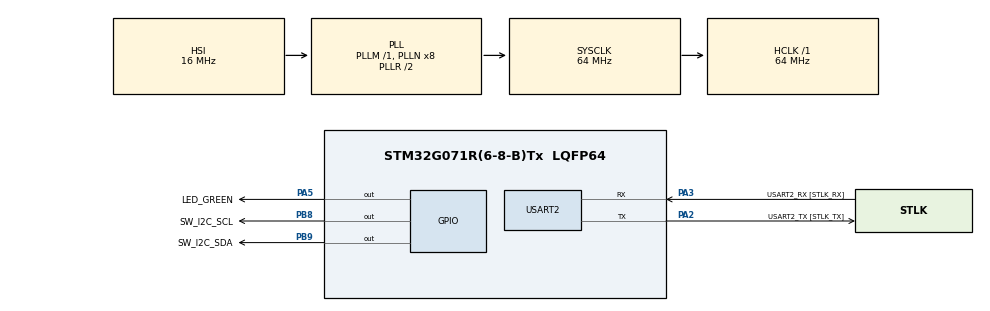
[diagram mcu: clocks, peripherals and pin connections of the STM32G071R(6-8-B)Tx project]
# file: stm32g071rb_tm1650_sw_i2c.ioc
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Mcu.Family=STM32G0
Mcu.Name=STM32G071R(6-8-B)Tx
Mcu.Package=LQFP64
PA13.GPIO_Label=TMS
PA13.Mode=Serial_Wire
PA13.Signal=SYS_SWDIO
PA14-BOOT0.GPIO_Label=TCK
PA14-BOOT0.Mode=Serial_Wire
PA14-BOOT0.Signal=SYS_SWCLK
PA2.GPIO_Label=USART2_TX [STLK_TX]
PA2.GPIO_PuPd=GPIO_PULLUP
PA2.Mode=Asynchronous
PA2.Signal=USART2_TX
PA3.GPIO_Label=USART2_RX [STLK_RX]
PA3.GPIO_PuPd=GPIO_PULLUP
PA3.Mode=Asynchronous
PA3.Signal=USART2_RX
PA5.GPIO_Label=LED_GREEN
PA5.GPIO_Speed=GPIO_SPEED_FREQ_HIGH
PA5.Signal=GPIO_Output
PB8.GPIO_FM8=__NULL
PB8.GPIO_Label=SW_I2C_SCL
PB8.GPIO_ModeDefaultOutputPP=GPIO_MODE_OUTPUT_OD
PB8.GPIO_PuPd=GPIO_PULLUP
PB8.GPIO_Speed=GPIO_SPEED_FREQ_HIGH
PB8.Signal=GPIO_Output
PB9.GPIO_Label=SW_I2C_SDA
PB9.GPIO_ModeDefaultOutputPP=GPIO_MODE_OUTPUT_OD
PB9.GPIO_PuPd=GPIO_PULLUP
PB9.GPIO_Speed=GPIO_SPEED_FREQ_HIGH
PB9.Signal=GPIO_Output
PC13.Mode=SYS_WakeUp1
PC13.Signal=SYS_WKUP2
PC14-OSC32_IN\ (PC14).Mode=LSE-External-Oscillator
PC14-OSC32_IN\ (PC14).Signal=RCC_OSC32_IN
PC15-OSC32_OUT\ (PC15).Mode=LSE-External-Oscillator
PC15-OSC32_OUT\ (PC15).Signal=RCC_OSC32_OUT
PF0-OSC_IN\ (PF0).GPIO_Label=MCO
PF0-OSC_IN\ (PF0).Mode=HSE-External-Clock-Source
PF0-OSC_IN\ (PF0).Signal=RCC_OSC_IN
ProjectManager.HeapSize=0x200
ProjectManager.StackSize=0x400
ProjectManager.TargetToolchain=STM32CubeIDE
RCC.ADCFreq_Value=64000000
RCC.AHBFreq_Value=64000000
RCC.CortexFreq_Value=64000000
RCC.EXTERNAL_CLOCK_VALUE=12288000
RCC.HCLKFreq_Value=64000000
RCC.HSE_VALUE=8000000
RCC.HSI_VALUE=16000000
RCC.SYSCLKFreq_VALUE=64000000
RCC.SYSCLKSource=RCC_SYSCLKSOURCE_PLLCLK
RCC.VCOOutputFreq_Value=128000000
TIM1.Period=0xffff-1
TIM1.Prescaler=64-1
USART2.VirtualMode-Asynchronous=VM_ASYNC
VP_SYS_VS_DBSignals.Mode=DisableDeadBatterySignals
VP_TIM1_VS_ClockSourceINT.Mode=Internal
board=NUCLEO-G071RB

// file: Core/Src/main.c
/* USER CODE BEGIN Header */
/**
  ******************************************************************************
  * @file           : main.c
  * @brief          : Main program body
  ******************************************************************************
  * @attention
  *
  * <h2><center>&copy; Copyright (c) 2021 STMicroelectronics.
  * All rights reserved.</center></h2>
  *
  * This software component is licensed by ST under BSD 3-Clause license,
  * the "License"; You may not use this file except in compliance with the
  * License. You may obtain a copy of the License at:
  *                        opensource.org/licenses/BSD-3-Clause
  *
  ******************************************************************************
  */
/* USER CODE END Header */
#include "main.h"

/* USER CODE BEGIN Includes */
#include <ms_timer.h>
#include <tm1650.h>
#include <stdio.h>
/* USER CODE END Includes */

/* USER CODE BEGIN PM */
#define USE_HARDWARE_I2C           (0)
/* USER CODE END PM */

TIM_HandleTypeDef htim1;

UART_HandleTypeDef huart2;

/* USER CODE BEGIN PV */
tm1650_t t;
millis_timer_t my_timer;
unsigned long my_counter = 0;
/* USER CODE END PV */

void SystemClock_Config(void);
static void MX_GPIO_Init(void);
static void MX_USART2_UART_Init(void);
static void MX_TIM1_Init(void);

/* USER CODE BEGIN 0 */
void delay_us (uint16_t us) {
  __HAL_TIM_SET_COUNTER(&htim1, 0);  // set the counter value a 0
  while (__HAL_TIM_GET_COUNTER(&htim1) < us);  // wait for the counter to reach the us input in the parameter
}

void tm1650_example (void)
{
  tm1650_display_off(&t);
  tm1650_display_string(&t, "____");
  tm1650_set_brightness(&t, TM1650_MIN_BRIGHT);
  tm1650_display_on(&t);
  HAL_Delay(100);
  char line[] = "1234";

  tm1650_display_string(&t, line);
  tm1650_set_brightness_gradually(&t, TM1650_MAX_BRIGHT);
  HAL_Delay(2000);
  tm1650_set_brightness_gradually(&t, TM1650_MIN_BRIGHT);
  tm1650_display_off(&t);
  HAL_Delay(1000);

  line[1] |= 128;
  tm1650_display_on(&t);
  tm1650_set_brightness_gradually(&t, TM1650_MAX_BRIGHT);
  tm1650_display_string(&t, line);
  HAL_Delay(2000);

//  for (int i=0; i<8; i++) {
//    d.setBrightness(i);
//    delay(500);
//  }

  tm1650_display_string(&t, "abcd");
  HAL_Delay(2000);

  tm1650_display_string(&t, "789 ");
  HAL_Delay(2000);

  if (tm1650_display_running(&t, "1234567890abcdefghijklmnop")) {
    while (tm1650_display_running_shift(&t)) HAL_Delay(500);
  }
  HAL_Delay(2000);

  for (int i = 0; i < 20; i++) {
    tm1650_display_off(&t);
    HAL_Delay(200);
    tm1650_display_on(&t);
    HAL_Delay(200);
  }

  for (int i = 0; i < 20; i++) {
    tm1650_set_brightness(&t, 1);
    HAL_Delay(200);
    tm1650_set_brightness(&t, 7);
    HAL_Delay(200);
  }

  for (int i = 0; i < 20; i++) {
    for (int j = 0; j<4; j++) {
      tm1650_set_dot(&t, j, true);
      HAL_Delay(200);
    }
    for (int j = 0; j < 4; j++) {
      tm1650_set_dot(&t, j, false);
      HAL_Delay(200);
    }
  }
}

int my_timer_callback (void *f) {
  char lbuf[4];
  /* Something happens here. Application code. */
  HAL_GPIO_TogglePin(LED_GREEN_GPIO_Port, LED_GREEN_Pin);
  my_counter++;
  sprintf(lbuf, "%ld", my_counter);
  tm1650_display_string(&t, lbuf);
  return 0;
}
/* USER CODE END 0 */

int main(void)
{

  /* MCU Configuration--------------------------------------------------------*/

  /* Reset of all peripherals, Initializes the Flash interface and the Systick. */
  HAL_Init();

  /* Configure the system clock */
  SystemClock_Config();

  /* Initialize all configured peripherals */
  MX_GPIO_Init();
  MX_USART2_UART_Init();
  MX_TIM1_Init();
  /* USER CODE BEGIN 2 */
  // Raman: Get rid of HW I2C; Replace with SW I2C instead.
  // HAL_I2C_Init(&hi2c1);
  HAL_TIM_Base_Start(&htim1);
  MX_GPIO_Init();

  /* Raman: Initialize the TM1650 module here */
  tm1650_init(&t);

  /* Init timer */
  millis_timer_init(&my_timer, 1000, my_timer_callback);

  /* Basically, the first line does the work of the 2 calls below */
  millis_timer_set_interval(&my_timer, 1000);
  millis_timer_expired_handler(&my_timer, my_timer_callback);

  /* Repeat infinitely when 0 is passed. */
  millis_timer_set_repeats(&my_timer, 0);

  /* Start millisecond timer */
  millis_timer_start(&my_timer);
  /* USER CODE END 2 */

  /* Infinite loop */
  while (1)
  {

    /* USER CODE BEGIN 3 */
	// Raman: Comment for now. Let the millis library take over.
	// tm1650_example();
	millis_timer_run(&my_timer);
  }
  /* USER CODE END 3 */
}

void SystemClock_Config(void)
{
  RCC_OscInitTypeDef RCC_OscInitStruct = {0};
  RCC_ClkInitTypeDef RCC_ClkInitStruct = {0};
  RCC_PeriphCLKInitTypeDef PeriphClkInit = {0};

  /** Configure the main internal regulator output voltage
  */
  HAL_PWREx_ControlVoltageScaling(PWR_REGULATOR_VOLTAGE_SCALE1);
  /** Initializes the RCC Oscillators according to the specified parameters
  * in the RCC_OscInitTypeDef structure.
  */
  RCC_OscInitStruct.OscillatorType = RCC_OSCILLATORTYPE_HSI;
  RCC_OscInitStruct.HSIState = RCC_HSI_ON;
  RCC_OscInitStruct.HSIDiv = RCC_HSI_DIV1;
  RCC_OscInitStruct.HSICalibrationValue = RCC_HSICALIBRATION_DEFAULT;
  RCC_OscInitStruct.PLL.PLLState = RCC_PLL_ON;
  RCC_OscInitStruct.PLL.PLLSource = RCC_PLLSOURCE_HSI;
  RCC_OscInitStruct.PLL.PLLM = RCC_PLLM_DIV1;
  RCC_OscInitStruct.PLL.PLLN = 8;
  RCC_OscInitStruct.PLL.PLLP = RCC_PLLP_DIV2;
  RCC_OscInitStruct.PLL.PLLQ = RCC_PLLQ_DIV2;
  RCC_OscInitStruct.PLL.PLLR = RCC_PLLR_DIV2;
  if (HAL_RCC_OscConfig(&RCC_OscInitStruct) != HAL_OK)
  {
    Error_Handler();
  }
  /** Initializes the CPU, AHB and APB buses clocks
  */
  RCC_ClkInitStruct.ClockType = RCC_CLOCKTYPE_HCLK|RCC_CLOCKTYPE_SYSCLK
                              |RCC_CLOCKTYPE_PCLK1;
  RCC_ClkInitStruct.SYSCLKSource = RCC_SYSCLKSOURCE_PLLCLK;
  RCC_ClkInitStruct.AHBCLKDivider = RCC_SYSCLK_DIV1;
  RCC_ClkInitStruct.APB1CLKDivider = RCC_HCLK_DIV1;

  if (HAL_RCC_ClockConfig(&RCC_ClkInitStruct, FLASH_LATENCY_2) != HAL_OK)
  {
    Error_Handler();
  }
  /** Initializes the peripherals clocks
  */
  PeriphClkInit.PeriphClockSelection = RCC_PERIPHCLK_USART2|RCC_PERIPHCLK_TIM1;
  PeriphClkInit.Usart2ClockSelection = RCC_USART2CLKSOURCE_PCLK1;
  PeriphClkInit.Tim1ClockSelection = RCC_TIM1CLKSOURCE_PCLK1;
  if (HAL_RCCEx_PeriphCLKConfig(&PeriphClkInit) != HAL_OK)
  {
    Error_Handler();
  }
}

static void MX_TIM1_Init(void)
{

  TIM_ClockConfigTypeDef sClockSourceConfig = {0};
  TIM_MasterConfigTypeDef sMasterConfig = {0};

  htim1.Instance = TIM1;
  htim1.Init.Prescaler = 64-1;
  htim1.Init.CounterMode = TIM_COUNTERMODE_UP;
  htim1.Init.Period = 0xffff-1;
  htim1.Init.ClockDivision = TIM_CLOCKDIVISION_DIV1;
  htim1.Init.RepetitionCounter = 0;
  htim1.Init.AutoReloadPreload = TIM_AUTORELOAD_PRELOAD_DISABLE;
  if (HAL_TIM_Base_Init(&htim1) != HAL_OK)
  {
    Error_Handler();
  }
  sClockSourceConfig.ClockSource = TIM_CLOCKSOURCE_INTERNAL;
  if (HAL_TIM_ConfigClockSource(&htim1, &sClockSourceConfig) != HAL_OK)
  {
    Error_Handler();
  }
  sMasterConfig.MasterOutputTrigger = TIM_TRGO_RESET;
  sMasterConfig.MasterOutputTrigger2 = TIM_TRGO2_RESET;
  sMasterConfig.MasterSlaveMode = TIM_MASTERSLAVEMODE_DISABLE;
  if (HAL_TIMEx_MasterConfigSynchronization(&htim1, &sMasterConfig) != HAL_OK)
  {
    Error_Handler();
  }

}

static void MX_USART2_UART_Init(void)
{

  huart2.Instance = USART2;
  huart2.Init.BaudRate = 115200;
  huart2.Init.WordLength = UART_WORDLENGTH_8B;
  huart2.Init.StopBits = UART_STOPBITS_1;
  huart2.Init.Parity = UART_PARITY_NONE;
  huart2.Init.Mode = UART_MODE_TX_RX;
  huart2.Init.HwFlowCtl = UART_HWCONTROL_NONE;
  huart2.Init.OverSampling = UART_OVERSAMPLING_16;
  huart2.Init.OneBitSampling = UART_ONE_BIT_SAMPLE_DISABLE;
  huart2.Init.ClockPrescaler = UART_PRESCALER_DIV1;
  huart2.AdvancedInit.AdvFeatureInit = UART_ADVFEATURE_NO_INIT;
  if (HAL_UART_Init(&huart2) != HAL_OK)
  {
    Error_Handler();
  }
  if (HAL_UARTEx_SetTxFifoThreshold(&huart2, UART_TXFIFO_THRESHOLD_1_8) != HAL_OK)
  {
    Error_Handler();
  }
  if (HAL_UARTEx_SetRxFifoThreshold(&huart2, UART_RXFIFO_THRESHOLD_1_8) != HAL_OK)
  {
    Error_Handler();
  }
  if (HAL_UARTEx_DisableFifoMode(&huart2) != HAL_OK)
  {
    Error_Handler();
  }

}

static void MX_GPIO_Init(void)
{
  GPIO_InitTypeDef GPIO_InitStruct = {0};

  /* GPIO Ports Clock Enable */
  __HAL_RCC_GPIOC_CLK_ENABLE();
  __HAL_RCC_GPIOF_CLK_ENABLE();
  __HAL_RCC_GPIOA_CLK_ENABLE();
  __HAL_RCC_GPIOB_CLK_ENABLE();

  /*Configure GPIO pin Output Level */
  HAL_GPIO_WritePin(LED_GREEN_GPIO_Port, LED_GREEN_Pin, GPIO_PIN_RESET);

  /*Configure GPIO pin Output Level */
  HAL_GPIO_WritePin(GPIOB, SW_I2C_SCL_Pin|SW_I2C_SDA_Pin, GPIO_PIN_RESET);

  /*Configure GPIO pin : LED_GREEN_Pin */
  GPIO_InitStruct.Pin = LED_GREEN_Pin;
  GPIO_InitStruct.Mode = GPIO_MODE_OUTPUT_PP;
  GPIO_InitStruct.Pull = GPIO_NOPULL;
  GPIO_InitStruct.Speed = GPIO_SPEED_FREQ_HIGH;
  HAL_GPIO_Init(LED_GREEN_GPIO_Port, &GPIO_InitStruct);

  /*Configure GPIO pins : SW_I2C_SCL_Pin SW_I2C_SDA_Pin */
  GPIO_InitStruct.Pin = SW_I2C_SCL_Pin|SW_I2C_SDA_Pin;
  GPIO_InitStruct.Mode = GPIO_MODE_OUTPUT_OD;
  GPIO_InitStruct.Pull = GPIO_PULLUP;
  GPIO_InitStruct.Speed = GPIO_SPEED_FREQ_HIGH;
  HAL_GPIO_Init(GPIOB, &GPIO_InitStruct);

}

void Error_Handler(void)
{
  __disable_irq();
  while (1)
  {
  }
}

/************************ (C) COPYRIGHT STMicroelectronics *****END OF FILE****/
